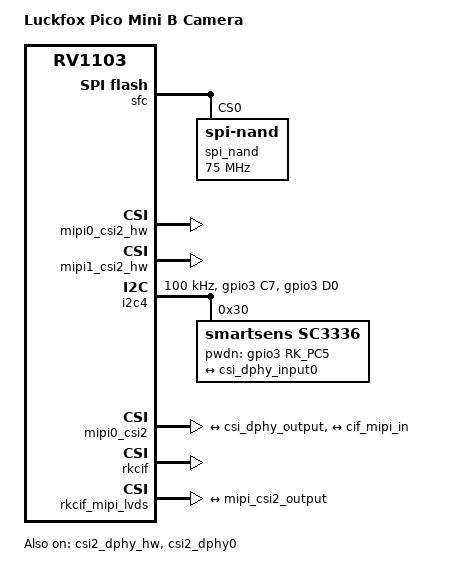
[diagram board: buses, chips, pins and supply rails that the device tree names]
// SPDX-License-Identifier: (GPL-2.0+ OR MIT)
/*
 * Copyright (c) 2023 Luckfox Electronics Co., Ltd.
 *
 * Luckfox Pico Mini B with the SC3336 MIPI camera attached on the MIPI CSI
 * connector. Requires the vendor camera stack
 * (CONFIG_VIDEO_ROCKCHIP_CIF_VENDOR) plus the SC3336 sensor driver.
 */

/dts-v1/;

#include "rv1103g-luckfox-pico-mini.dtsi"

/ {
	model = "Luckfox Pico Mini B Camera";
	compatible = "rockchip,rv1103g-luckfox-pico-mini-b-camera", "rockchip,rv1103g-luckfox-pico-mini", "rockchip,rv1103";

	aliases {
		i2c4 = &i2c4;
	};

	/*
	 * The CIF needs physically contiguous frame buffers and there is no
	 * reserved region for it, so provide a reusable CMA pool. One
	 * 2304x1296 RAW10 frame is ~3.8 MiB.
	 */
	reserved-memory {
		#address-cells = <1>;
		#size-cells = <1>;
		ranges;

		cma: cma {
			compatible = "shared-dma-pool";
			reusable;
			size = <0x2000000>;
			linux,cma-default;
		};
	};
};

&sfc {
	status = "okay";

	spi_nand: flash@0 {
		compatible = "spi-nand";
		reg = <0>;
		spi-max-frequency = <75000000>;
		spi-rx-bus-width = <4>;
		spi-tx-bus-width = <1>;
	};
};

/***************************** CSI ********************************/
&pinctrl {
	camera {
		mipi_refclk_sleep: mipi-refclk-sleep {
			rockchip,pins = <3 RK_PC4 RK_FUNC_GPIO &pcfg_output_low>;
		};

		/*
		 * Same pins as i2c4m2, but with the SoC pull-ups enabled and a
		 * slower bus. The camera connector provides no (or too weak)
		 * external pull-ups, so with the vendor "pull_none" group the
		 * bus floats and every transfer NAKs.
		 */
		i2c4_cam_xfer: i2c4-cam-xfer {
			rockchip,pins = <3 RK_PC7 3 &pcfg_pull_up>,
					<3 RK_PD0 3 &pcfg_pull_up>;
		};
	};
};

&csi2_dphy_hw {
	status = "okay";
};

/* mipi0_csi2 needs both CSI host instances available (num_hw == 2). */
&mipi0_csi2_hw {
	status = "okay";
};

&mipi1_csi2_hw {
	status = "okay";
};

&csi2_dphy0 {
	status = "okay";

	ports {
		#address-cells = <1>;
		#size-cells = <0>;

		port@0 {
			reg = <0>;
			#address-cells = <1>;
			#size-cells = <0>;

			csi_dphy_input0: endpoint@0 {
				reg = <0>;
				remote-endpoint = <&sc3336_out>;
				data-lanes = <1 2>;
			};
		};

		port@1 {
			reg = <1>;
			#address-cells = <1>;
			#size-cells = <0>;

			csi_dphy_output: endpoint@0 {
				reg = <0>;
				remote-endpoint = <&mipi_csi2_input>;
			};
		};
	};
};

&i2c4 {
	status = "okay";
	clock-frequency = <100000>;
	pinctrl-names = "default";
	pinctrl-0 = <&i2c4_cam_xfer>;

	sc3336: sc3336@30 {
		compatible = "smartsens,sc3336";
		status = "okay";
		reg = <0x30>;
		clocks = <&cru MCLK_REF_MIPI0>;
		clock-names = "xvclk";
		pwdn-gpios = <&gpio3 RK_PC5 GPIO_ACTIVE_HIGH>;
		pinctrl-names = "default", "sleep";
		pinctrl-0 = <&mipi_refclk_out0>;
		pinctrl-1 = <&mipi_refclk_sleep>;
		rockchip,camera-module-index = <0>;
		rockchip,camera-module-facing = "back";
		rockchip,camera-module-name = "CMK-OT2119-PC1";
		rockchip,camera-module-lens-name = "30IRC-F16";
		port {
			sc3336_out: endpoint {
				remote-endpoint = <&csi_dphy_input0>;
				data-lanes = <1 2>;
			};
		};
	};
};

&mipi0_csi2 {
	status = "okay";

	ports {
		#address-cells = <1>;
		#size-cells = <0>;

		port@0 {
			reg = <0>;
			#address-cells = <1>;
			#size-cells = <0>;

			mipi_csi2_input: endpoint@1 {
				reg = <1>;
				remote-endpoint = <&csi_dphy_output>;
				data-lanes = <1 2>;
			};
		};

		port@1 {
			reg = <1>;
			#address-cells = <1>;
			#size-cells = <0>;

			mipi_csi2_output: endpoint@0 {
				reg = <0>;
				remote-endpoint = <&cif_mipi_in>;
			};
		};
	};
};

&rkcif {
	status = "okay";
};

&rkcif_mipi_lvds {
	status = "okay";

	pinctrl-names = "default";
	pinctrl-0 = <&mipi_pins>;
	port {
		/* MIPI CSI-2 endpoint */
		cif_mipi_in: endpoint {
			remote-endpoint = <&mipi_csi2_output>;
		};
	};
};
